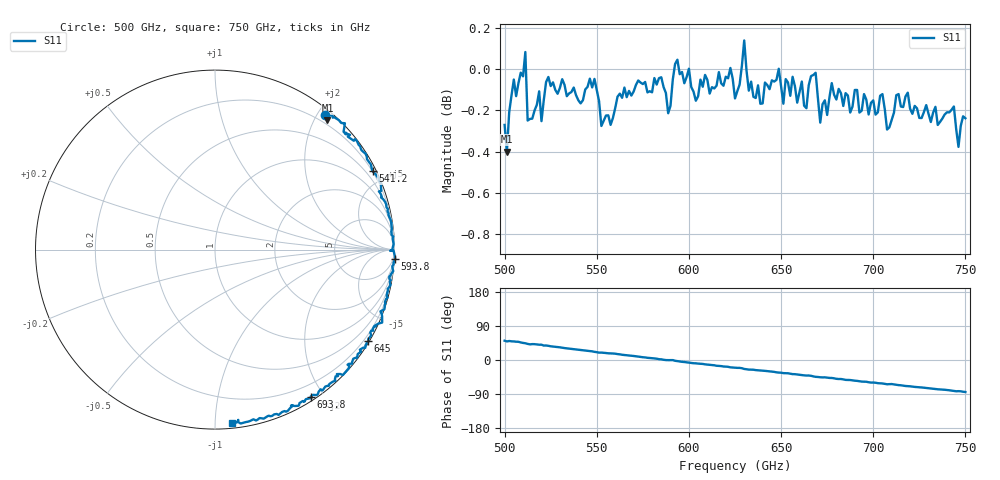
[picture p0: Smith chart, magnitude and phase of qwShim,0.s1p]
!Created with mwavepy.
# GHz S RI R 50.0
!freq	ReS11	ImS11
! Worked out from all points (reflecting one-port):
!   201 points, 500 GHz to 750 GHz, reference 50 ohm
!   lowest |S11| = -0.4 dB at 501.2 GHz (marker M1), VSWR 43.44, Z = 6.68 + j109 ohm
!   phase of S11 starts at 51 deg and turns -135 deg over the sweep
!   S11 on the Smith chart (normalised r, x): 500 GHz: 0.08, +2.10; 541.2 GHz: 0.18, +4.23; 593.8 GHz: -4, -37; 645 GHz: 0.04, -3.64; 693.8 GHz: 0.05, -1.84; 750 GHz: 0.03, -1.10
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500  0.6109 0.7526
! Port Impedance 50.00000000000000 0.00000000000000
501.25  0.6267 0.7206
502.5  0.6256 0.7495
507.5  0.6635 0.7377
511.25  0.7237 0.7041
513.75  0.7308 0.6417
520  0.7399 0.6294
521.25  0.7736 0.6063
531.25  0.8396 0.5329
541.25  0.8778 0.4382
551.25  0.9263 0.3267
562.5  0.9532 0.2538
587.5  0.9868 -0.00363
591.25  0.9943 -0.00466
593.75  1.004 -0.0536
625  0.9218 -0.3438
627.5  0.927 -0.3514
630  0.9314 -0.4065
632.5  0.8931 -0.4228
645  0.8542 -0.508
656.25  0.7923 -0.6032
665  0.7491 -0.6489
668.75  0.7127 -0.6986
675  0.6718 -0.7063
687.5  0.5891 -0.7782
693.75  0.5326 -0.8192
718.75  0.3543 -0.9212
750  0.0924 -0.9685
